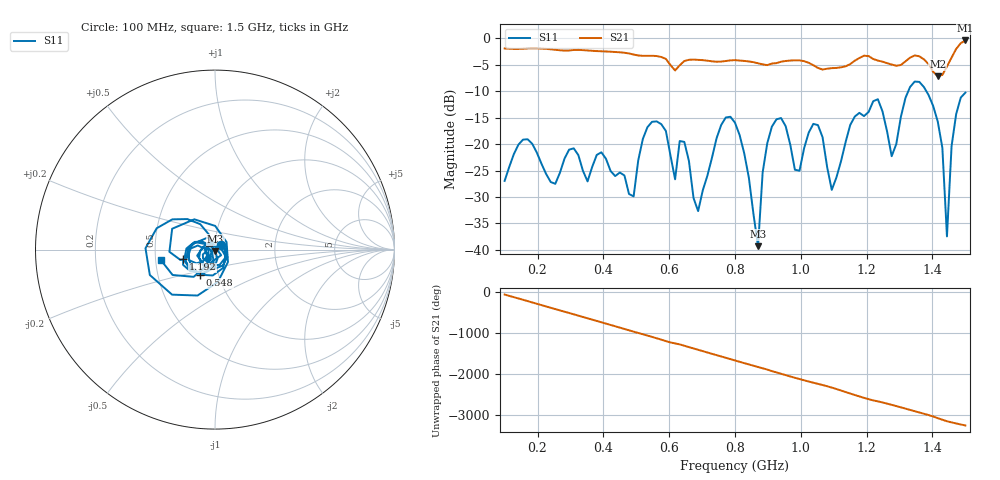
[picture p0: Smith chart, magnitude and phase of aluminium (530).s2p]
! NanoVNA-App
! Date: 2025-09-25 14:59:24
! Start: 100MHz Stop: 1,5GHz Points: 101
! S-Parameter data: F S11 S21 S12 S22
# Hz S RI R 50
!  Frequency  S11_Real  S11_Imag  S21_Real  S21_Imag  S12_Real  S12_Imag  S22_Real  S22_Imag
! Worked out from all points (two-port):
!   101 points, 100 MHz to 1.5 GHz, reference 50 ohm
!   highest |S21| = -0.41 dB at 1.5 GHz (marker M1); lowest = -7.2 dB at 1.416 GHz (marker M2)
!   |S21| within 3 dB of the highest: start of sweep to 566.4 MHz; 1.46 GHz to end of sweep (the widest 2 of 4)
!   lowest |S11| = -39.3 dB at 870 MHz (marker M3), VSWR 1.02, Z = 50.2 - j1.06 ohm
!   |S11| at or under -10 dB: start of sweep to 1.327 GHz; 1.381 GHz to end of sweep
!   S12 and S22 are empty: the file has one direction only
!   S11 on the Smith chart (normalised r, x): 100 MHz: 1.07, +0.06; 548 MHz: 0.82, -0.24; 1.192 GHz: 0.70, -0.08; 1.5 GHz: 0.53, -0.07
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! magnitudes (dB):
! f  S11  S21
! 100 MHz  -27.0  -1.9
! 156 MHz  -19.2  -2.0
! 338 MHz  -25.0  -2.2
! 492 MHz  -29.9  -3.1
! 548 MHz  -15.8  -3.3
! 576 MHz  -16.2  -3.5
! 646 MHz  -19.6  -4.3
! 688 MHz  -32.7  -4.1
! 800 MHz  -16.0  -4.1
! 870 MHz  -39.3  -4.7
! 912 MHz  -16.7  -4.8
! 996 MHz  -25.0  -4.2
! 1.038 GHz  -16.2  -5.1
! 1.094 GHz  -28.7  -5.6
! 1.192 GHz  -14.7  -3.3
! 1.234 GHz  -11.5  -4.2
! 1.276 GHz  -22.3  -5.0
! 1.346 GHz  -8.2  -3.2
! 1.416 GHz  -15.7  -7.2
! 1.444 GHz  -37.4  -5.3
! 1.458 GHz  -20.4  -3.7
! 1.5 GHz  -10.3  -0.4
